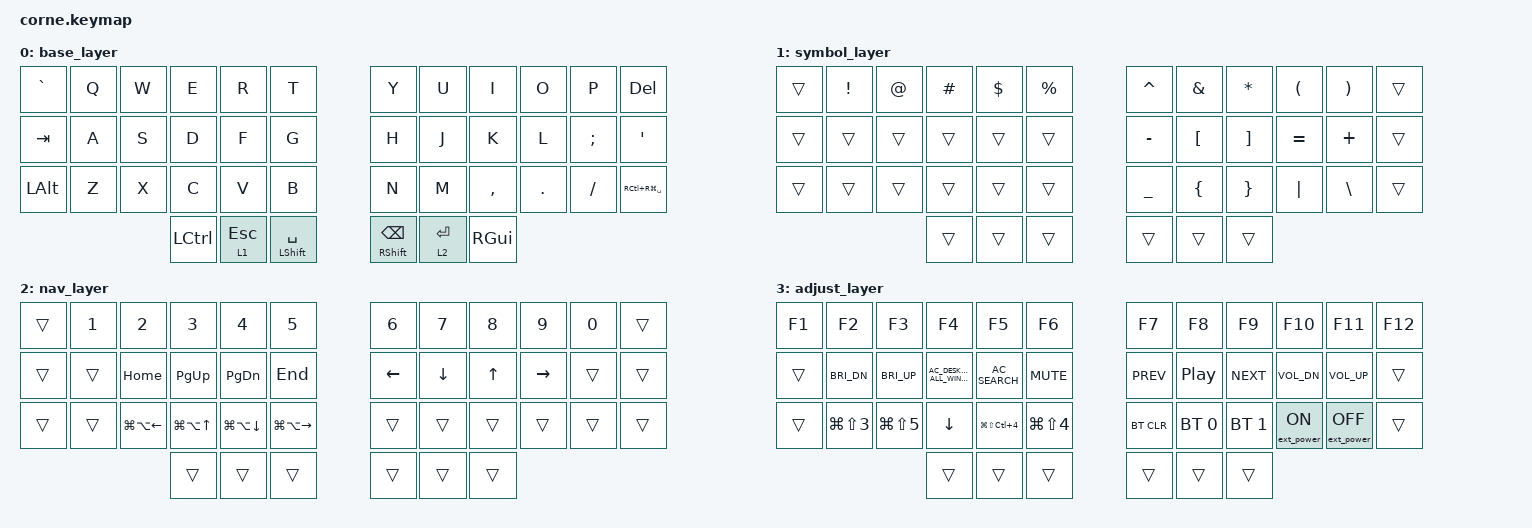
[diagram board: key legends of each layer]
/*
 * Copyright (c) 2020 The ZMK Contributors
 *
 * SPDX-License-Identifier: MIT
 */

#include <behaviors.dtsi>
#include <dt-bindings/zmk/bt.h>
#include <dt-bindings/zmk/ext_power.h>
#include <dt-bindings/zmk/keys.h>

&mt { flavor = "tap-preferred"; };

&sk {
    release-after-ms = <2000>;
    quick-release;
};

/ {
    behaviors {
        // Custom mod-tap with one-shot shift on tap

        mt_sk: mod_tap_sticky {
            compatible = "zmk,behavior-hold-tap";
            #binding-cells = <2>;
            flavor = "tap-preferred";
            tapping-term-ms = <150>;
            quick-tap-ms = <0>;
            bindings = <&kp>, <&sk>;
        };
    };

    conditional_layers {
        compatible = "zmk,conditional-layers";

        tri_layer {
            if-layers = <2 1>;
            then-layer = <3>;
        };
    };

    combos {
        compatible = "zmk,combos";

        caps {
            bindings = <&kp CAPSLOCK>;
            key-positions = <38 39>;
        };
    };

    keymap {
        compatible = "zmk,keymap";

        base_layer {
            // -----------------------------------------------------------------------------------------
            // |  `   |  Q  |  W  |  E  |  R  |  T  |   |  Y  |  U  |  I  |  O  |  P  | DEL  |
            // | TAB  |  A  |  S  |  D  |  F  |  G  |   |  H  |  J  |  K  |  L  |  ;  | '    |
            // | LALT |  Z  |  X  |  C  |  V  |  B  |   |  N  |  M  |  ,  |  .  |  /  | RSHFT|
            //                    | OS_SFT/GUI | SYM | SPC |   | BSP | NAV | OS_SFT/CTL |
            // OS_SFT = One-Shot Shift: tap=shift next key, hold=GUI/CTRL

            bindings = <
&kp GRAVE  &kp Q  &kp W  &kp E      &kp R      &kp T                   &kp Y                      &kp U      &kp I      &kp O    &kp P     &kp DEL
&kp TAB    &kp A  &kp S  &kp D      &kp F      &kp G                   &kp H                      &kp J      &kp K      &kp L    &kp SEMI  &kp SQT
&kp LALT   &kp Z  &kp X  &kp C      &kp V      &kp B                   &kp N                      &kp M      &kp COMMA  &kp DOT  &kp FSLH  &kp RC(RG(SPACE))
                         &kp LCTRL  &lt 1 ESC  &mt LEFT_SHIFT SPACE    &mt RIGHT_SHIFT BACKSPACE  &lt 2 RET  &kp RGUI
            >;
        };

        symbol_layer {
            // -----------------------------------------------------------------------------------------
            // |  `   |  !  |  @  |  #  |  $  |  %  |   |  ^  |  &  |  *  |  (  |  )  | DEL  |
            // | TAB  |     |     |     |     |     |   |  -  |  [  |  ]  |  =  |  +  |  '   |
            // | LALT |     |     |     |     |     |   |  _  |  {  |  }  |  |  |  \  | RSHFT|
            //                    | OS_SFT/GUI |     | SPC |   | BSP |     | OS_SFT/CTL |

            bindings = <
&trans  &kp EXCL  &kp AT  &kp HASH  &kp DOLLAR  &kp PERCENT    &kp CARET  &kp AMPS  &kp STAR  &kp LPAR   &kp RPAR       &trans
&trans  &trans    &trans  &trans    &trans      &trans         &kp MINUS  &kp LBKT  &kp RBKT  &kp EQUAL  &kp PLUS       &trans
&trans  &trans    &trans  &trans    &trans      &trans         &kp UNDER  &kp LBRC  &kp RBRC  &kp PIPE   &kp BACKSLASH  &trans
                          &trans    &trans      &trans         &trans     &trans    &trans
            >;
        };

        nav_layer {
            // -----------------------------------------------------------------------------------------
            // |  `   |  1  |  2  |  3  |  4  |  5  |   |  6  |  7  |  8  |  9  |  0  | DEL  |
            // | TAB  |     | HOME| PGUP| PGDN| END |   | LFT | DWN |  UP | RGT |     |  '   |
            // | LALT |     |     |     |     |     |   |CMD+OPT+←|CMD+OPT+↓|CMD+OPT+↑|CMD+OPT+→|     |RSHFT|
            //                    | OS_SFT/GUI |     | SPC |   | BSP |     | OS_SFT/CTL |

            bindings = <
&trans  &kp N1  &kp N2            &kp N3                &kp N4            &kp N5               &kp N6    &kp N7    &kp N8  &kp N9     &kp N0  &trans
&trans  &trans  &kp HOME          &kp PG_UP             &kp PG_DN         &kp END              &kp LEFT  &kp DOWN  &kp UP  &kp RIGHT  &trans  &trans
&trans  &trans  &kp LG(LA(LEFT))  &kp LG(LA(UP_ARROW))  &kp LG(LA(DOWN))  &kp LG(LA(RIGHT))    &trans    &trans    &trans  &trans     &trans  &trans
                                  &trans                &trans            &trans               &trans    &trans    &trans
            >;
        };

        adjust_layer {
            // -----------------------------------------------------------------------------------------
            // |  F1  |  F2  |  F3  |  F4  |  F5  |  F6  |   |  F7  |  F8  |  F9  | F10  | F11  | F12  |
            // | TAB  | BRI- | BRI+ |SHOALL|SEARCH| MUTE |   | PREV | PLAY | NEXT | VOL- | VOL+ |  '   |
            // | LALT |EP_ON |EP_OFF|      |      | CAPS |   |BTCLR | BT0  | BT1  | BT2  | BT3  |RSHFT |
            //                      | OS_SFT/GUI |      |      |   |      |      | OS_SFT/CTL |

            bindings = <
&kp F1  &kp F2                &kp F3          &kp F4                             &kp F5                    &kp F6                  &kp F7      &kp F8        &kp F9        &kp F10           &kp F11            &kp F12
&trans  &kp C_BRI_DN          &kp C_BRI_UP    &kp C_AC_DESKTOP_SHOW_ALL_WINDOWS  &kp C_AC_SEARCH           &kp C_MUTE              &kp C_PREV  &kp C_PP      &kp C_NEXT    &kp C_VOL_DN      &kp C_VOL_UP       &trans
&trans  &kp LG(LS(NUMBER_3))  &kp LG(LS(N5))  &kp DOWN                           &kp LG(LS(LC(NUMBER_4)))  &kp LG(LS(NUMBER_4))    &bt BT_CLR  &bt BT_SEL 0  &bt BT_SEL 1  &ext_power EP_ON  &ext_power EP_OFF  &trans
                                              &trans                             &trans                    &trans                  &trans      &trans        &trans
            >;
        };
    };
};
